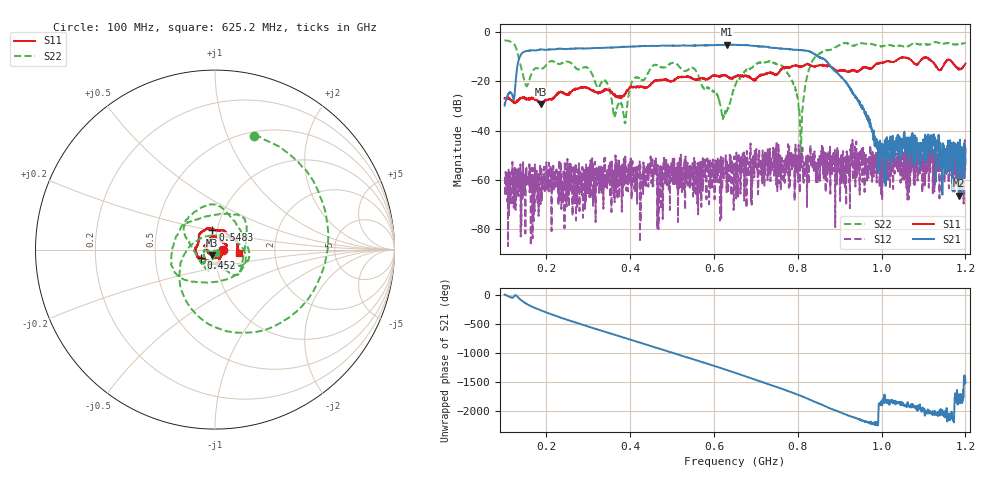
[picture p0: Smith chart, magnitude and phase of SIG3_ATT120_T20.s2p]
# Hz S DB R 50
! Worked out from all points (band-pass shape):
!   1601 points, 100 MHz to 1.2 GHz, reference 50 ohm
!   highest |S21| = -5.10 dB at 630.8 MHz (marker M1); lowest = -66.3 dB at 1.184 GHz (marker M2)
!   |S21| within 3 dB of the highest: 144.9 MHz to 831.4 MHz (686.6 MHz wide, 141 % of centre)
!   lowest |S11| = -29.4 dB at 185.9 MHz (marker M3), VSWR 1.07, Z = 48.2 - j2.85 ohm
!   |S11| at or under -10 dB: start of sweep to end of sweep
!   |S22| runs from -54.9 to -3.4 dB; largest |S21 - S12| = 0.56
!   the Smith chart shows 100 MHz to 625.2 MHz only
!   S11 on the Smith chart (normalised r, x): 100 MHz: 1.09, -0.01; 452 MHz: 0.85, -0.08; 548.2 MHz: 0.95, +0.21; 625.2 MHz: 1.30, -0.05
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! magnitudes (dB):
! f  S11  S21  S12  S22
! 100 MHz  -26.9  -29.8  -58.7  -3.5
! 124.8 MHz  -28.7  -23.7  -64.1  -5.4
! 151.6 MHz  -26.8  -7.7  -55.5  -21.8
! 185.9 MHz  -29.4  -7.1  -69.7  -15.0
! 283.6 MHz  -22.3  -6.6  -60.2  -14.7
! 386.7 MHz  -25.1  -6.0  -60.8  -36.8
! 405.9 MHz  -22.5  -5.9  -60.6  -19.5
! 452 MHz  -20.7  -5.6  -56.6  -14.0
! 467.1 MHz  -19.4  -5.6  -79.9  -13.7
! 548.2 MHz  -19.0  -5.4  -53.1  -14.4
! 625.2 MHz  -17.6  -5.2  -55.6  -33.4
! 630.8 MHz  -18.1  -5.1  -52.5  -32.1
! 650 MHz  -18.1  -5.2  -57.6  -21.6
! 757.9 MHz  -15.5  -6.7  -50.0  -13.3
! 790.9 MHz  -13.6  -7.2  -49.7  -21.6
! 806.8 MHz  -14.2  -7.3  -52.9  -51.1
! 833.6 MHz  -13.7  -8.2  -50.2  -12.1
! 918.1 MHz  -16.0  -21.1  -54.4  -4.6
! 994.4 MHz  -12.6  -45.4  -50.4  -5.7
! 1.017 GHz  -11.9  -46.5  -49.5  -5.2
! 1.184 GHz  -14.7  -66.3  -51.3  -4.8
! 1.2 GHz  -12.8  -53.6  -47.0  -4.3
